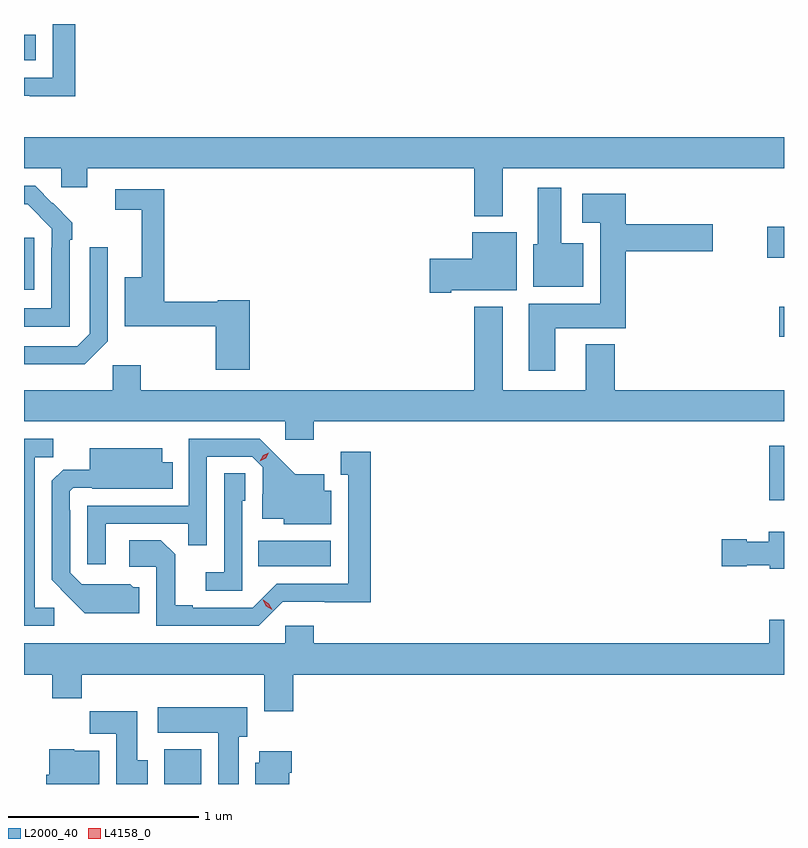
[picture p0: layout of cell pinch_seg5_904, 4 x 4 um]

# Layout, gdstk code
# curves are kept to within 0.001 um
import gdstk
lib = gdstk.Library(unit=1e-6, precision=1e-09)
def R(c, l, rs):  # rectangles x0, y0, x1, y1
    for r in rs: c.add(gdstk.rectangle(r[:2], r[2:], *l))
def P(c, l, *ps):  # polygons
    for p in ps: c.add(gdstk.Polygon(p, *l))
L2000_40 = (2000, 40)
L4158_0 = (4158, 0)

pinch_seg5_904 = lib.new_cell('pinch_seg5_904')
R(pinch_seg5_904, L2000_40, [(707.855,906.8,708.051,906.982), (708.352,907.946,708.733,908.08), (711.041,908.294,711.118,908.581), (711.093,909.155,711.118,909.313), (707.118,909.401,707.173,909.676), (711.03,909.569,711.118,909.732), (707.118,910.61,707.179,910.744)])
P(pinch_seg5_904, L2000_40, [(707.389,910.8),(707.27,910.8),(707.27,910.518),(707.118,910.518),(707.118,910.422),(707.148,910.422),(707.148,910.421),(707.389,910.421)],
  [(709.639,910.04),(711.118,910.04),(711.118,910.204),(707.118,910.204),(707.118,910.04),(707.313,910.04),(707.313,909.942),(707.452,909.942),(707.452,910.04),(709.487,910.04),(709.487,909.788),(709.639,909.788)],
  [(707.358,909.665),(707.373,909.665),(707.373,909.753),(707.176,909.948),(707.118,909.948),(707.118,909.852),(707.137,909.852),(707.265,909.723),(707.265,909.623),(707.262,909.623),(707.262,909.303),(707.118,909.303),(707.118,909.207),(707.358,909.207)],
  [(710.062,909.646),(709.945,909.646),(709.945,909.937),(709.823,909.937),(709.823,909.642),(709.799,909.642),(709.799,909.416),(710.062,909.416)],
  [(708.305,909.346),(708.138,909.346),(708.138,909.338),(707.855,909.338),(707.855,909.93),(707.598,909.93),(707.598,909.822),(707.738,909.822),(707.738,909.466),(707.648,909.466),(707.648,909.21),(708.127,909.21),(708.127,908.979),(708.305,908.979)],
  [(709.915,909.2),(710.285,909.2),(710.285,909.605),(710.743,909.605),(710.743,909.747),(710.285,909.747),(710.285,909.907),(710.055,909.907),(710.055,909.755),(710.15,909.755),(710.15,909.328),(709.775,909.328),(709.775,908.976),(709.915,908.976)],
  [(709.366,909.398),(709.711,909.398),(709.711,909.703),(709.478,909.703),(709.478,909.564),(709.254,909.564),(709.254,909.386),(709.366,909.386)],
  [(707.559,909.129),(707.559,909.625),(707.463,909.625),(707.463,909.171),(707.397,909.105),(707.118,909.105),(707.118,909.008),(707.438,909.008)],
  [(708.644,908.708),(711.118,908.708),(711.118,908.872),(710.228,908.872),(710.228,909.115),(710.075,909.115),(710.075,908.872),(709.639,908.872),(709.639,909.313),(709.487,909.313),(709.487,908.872),(707.733,908.872),(707.733,909.004),(707.586,909.004),(707.586,908.872),(707.118,908.872),(707.118,908.708),(708.492,908.708),(708.492,908.613),(708.644,908.613)],
  [(707.278,907.728),(707.175,907.728),(707.175,908.521),(707.271,908.521),(707.271,908.616),(707.118,908.616),(707.118,907.632),(707.278,907.632)],
  [(707.547,908.169),(707.983,908.169),(707.983,908.056),(708.081,908.056),(708.081,908.523),(708.318,908.523),(708.375,908.466),(708.375,908.324),(708.371,908.324),(708.371,908.195),(708.486,908.195),(708.486,908.168),(708.736,908.168),(708.736,908.344),(708.697,908.344),(708.697,908.431),(708.545,908.431),(708.358,908.616),(707.985,908.616),(707.985,908.265),(707.451,908.265),(707.451,907.956),(707.547,907.956)],
  [(707.725,907.836),(707.694,907.836),(707.678,907.852),(707.421,907.851),(707.361,907.911),(707.361,908.24),(707.358,908.24),(707.358,908.34),(707.376,908.358),(707.476,908.358),(707.476,908.354),(707.9,908.354),(707.9,908.494),(707.845,908.494),(707.845,908.566),(707.465,908.566),(707.465,908.455),(707.324,908.455),(707.265,908.396),(707.265,907.874),(707.437,907.7),(707.725,907.7)],
  [(708.48,907.758),(708.943,907.757),(708.943,908.548),(708.785,908.548),(708.785,908.427),(708.824,908.427),(708.824,907.854),(708.447,907.854),(708.321,907.728),(708.007,907.728),(708.007,907.741),(707.913,907.741),(707.913,908.008),(707.837,908.084),(707.673,908.084),(707.673,907.944),(707.814,907.944),(707.814,907.632),(708.354,907.632)],
  [(708.267,908.292),(708.282,908.292),(708.282,908.435),(708.171,908.435),(708.171,907.915),(708.075,907.915),(708.075,907.818),(708.267,907.818)],
  [(711.118,908.128),(711.038,908.128),(711.038,908.074),(710.922,908.074),(710.922,908.087),(710.79,908.087),(710.79,907.945),(710.922,907.945),(710.922,907.952),(711.042,907.952),(711.042,907.934),(711.118,907.934)],
  [(708.536,907.376),(711.118,907.376),(711.118,907.664),(711.041,907.664),(711.041,907.54),(708.644,907.54),(708.644,907.633),(708.492,907.633),(708.492,907.54),(707.118,907.54),(707.118,907.376),(707.267,907.376),(707.267,907.252),(707.423,907.252),(707.423,907.376),(708.383,907.376),(708.383,907.182),(708.536,907.182)],
  [(708.247,907.05),(708.292,907.05),(708.292,907.204),(707.823,907.204),(707.823,907.07),(708.14,907.07),(708.14,906.8),(708.247,906.8)],
  [(707.77,906.924),(707.713,906.924),(707.713,907.183),(707.464,907.183),(707.464,907.064),(707.603,907.064),(707.603,906.8),(707.77,906.8)],
  [(707.515,906.976),(707.382,906.976),(707.382,906.982),(707.252,906.982),(707.252,906.849),(707.234,906.849),(707.234,906.8),(707.515,906.8)],
  [(708.514,906.86),(708.527,906.86),(708.527,906.973),(708.356,906.973),(708.356,906.912),(708.335,906.912),(708.335,906.8),(708.514,906.8)])
P(pinch_seg5_904, L4158_0, [(708.359,908.499),(708.359,908.499),(708.376,908.529),(708.407,908.544),(708.407,908.544),(708.407,908.544),(708.39,908.514),(708.359,908.499)],
  [(708.424,907.716),(708.392,907.736),(708.375,907.769),(708.375,907.769),(708.376,907.769),(708.407,907.749),(708.424,907.717),(708.424,907.716)])

lib.write_gds('pinch_seg5_904.gds')
